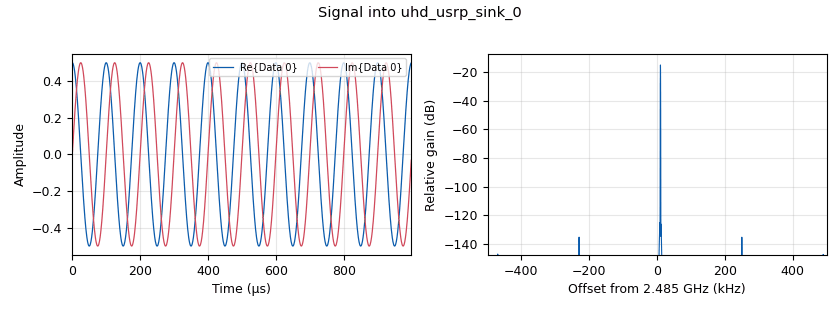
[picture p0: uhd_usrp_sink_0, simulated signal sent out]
<?xml version='1.0' encoding='utf-8'?>
<?grc format='1' created='3.7.12'?>
<flow_graph>
<block>
<key>options</key>
<param><key>id</key><value>top_block</value></param>
<param><key>generate_options</key><value>qt_gui</value></param>
</block>
<block>
<key>variable_qtgui_range</key>
<param><key>id</key><value>f_off</value></param>
<param><key>value</key><value>0</value></param>
<param><key>orient</key><value>Qt.Horizontal</value></param>
<param><key>start</key><value>-2000</value></param>
<param><key>step</key><value>10</value></param>
<param><key>stop</key><value>2000</value></param>
</block>
<block>
<key>variable</key>
<param><key>id</key><value>samp_rate</value></param>
<param><key>value</key><value>1e6</value></param>
</block>
<block>
<key>analog_sig_source_x</key>
<param><key>id</key><value>analog_sig_source_x_0</value></param>
<param><key>amp</key><value>.5</value></param>
<param><key>freq</key><value>10000</value></param>
<param><key>offset</key><value>0</value></param>
<param><key>type</key><value>complex</value></param>
<param><key>samp_rate</key><value>samp_rate</value></param>
<param><key>waveform</key><value>analog.GR_COS_WAVE</value></param>
</block>
<block>
<key>qtgui_freq_sink_x</key>
<param><key>id</key><value>qtgui_freq_sink_x_0</value></param>
<param><key>bw</key><value>samp_rate</value></param>
<param><key>fc</key><value>0</value></param>
<param><key>fftsize</key><value>8192</value></param>
<param><key>showports</key><value>True</value></param>
<param><key>type</key><value>complex</value></param>
<param><key>wintype</key><value>firdes.WIN_BLACKMAN_hARRIS</value></param>
</block>
<block>
<key>qtgui_time_sink_x</key>
<param><key>id</key><value>qtgui_time_sink_x_0</value></param>
<param><key>color1</key><value>"blue"</value></param>
<param><key>label1</key><value></value></param>
<param><key>color2</key><value>"red"</value></param>
<param><key>label2</key><value></value></param>
<param><key>size</key><value>1000000</value></param>
<param><key>srate</key><value>samp_rate</value></param>
<param><key>type</key><value>complex</value></param>
</block>
<block>
<key>uhd_usrp_sink</key>
<param><key>id</key><value>uhd_usrp_sink_0</value></param>
<param><key>ant0</key><value>TX/RX</value></param>
<param><key>center_freq0</key><value>2.485e9 + f_off</value></param>
<param><key>norm_gain0</key><value>True</value></param>
<param><key>gain0</key><value>0.5</value></param>
<param><key>clock_rate</key><value>0.0</value></param>
<param><key>dev_addr</key><value>name=Diana</value></param>
<param><key>dev_args</key><value>""</value></param>
<param><key>type</key><value>fc32</value></param>
<param><key>clock_source0</key><value>external</value></param>
<param><key>samp_rate</key><value>samp_rate</value></param>
<param><key>hide_cmd_port</key><value>False</value></param>
<param><key>hide_lo_controls</key><value>True</value></param>
<param><key>sync</key><value></value></param>
<param><key>len_tag_name</key><value></value></param>
</block>
<block>
<key>uhd_usrp_source</key>
<param><key>id</key><value>uhd_usrp_source_0</value></param>
<param><key>ant0</key><value>TX/RX</value></param>
<param><key>center_freq0</key><value>2.485e9</value></param>
<param><key>dc_offs_enb0</key><value>""</value></param>
<param><key>iq_imbal_enb0</key><value>""</value></param>
<param><key>norm_gain0</key><value>True</value></param>
<param><key>gain0</key><value>0.8</value></param>
<param><key>clock_rate</key><value>0.0</value></param>
<param><key>dev_addr</key><value>name=Delilah</value></param>
<param><key>dev_args</key><value>""</value></param>
<param><key>clock_source0</key><value>external</value></param>
<param><key>type</key><value>fc32</value></param>
<param><key>samp_rate</key><value>samp_rate</value></param>
<param><key>hide_cmd_port</key><value>False</value></param>
<param><key>hide_lo_controls</key><value>True</value></param>
<param><key>sync</key><value></value></param>
</block>
<connection><source_block_id>analog_sig_source_x_0</source_block_id><sink_block_id>uhd_usrp_sink_0</sink_block_id><source_key>0</source_key><sink_key>0</sink_key></connection>
<connection><source_block_id>uhd_usrp_source_0</source_block_id><sink_block_id>qtgui_freq_sink_x_0</sink_block_id><source_key>0</source_key><sink_key>0</sink_key></connection>
<connection><source_block_id>uhd_usrp_source_0</source_block_id><sink_block_id>qtgui_time_sink_x_0</sink_block_id><source_key>0</source_key><sink_key>0</sink_key></connection>
</flow_graph>
